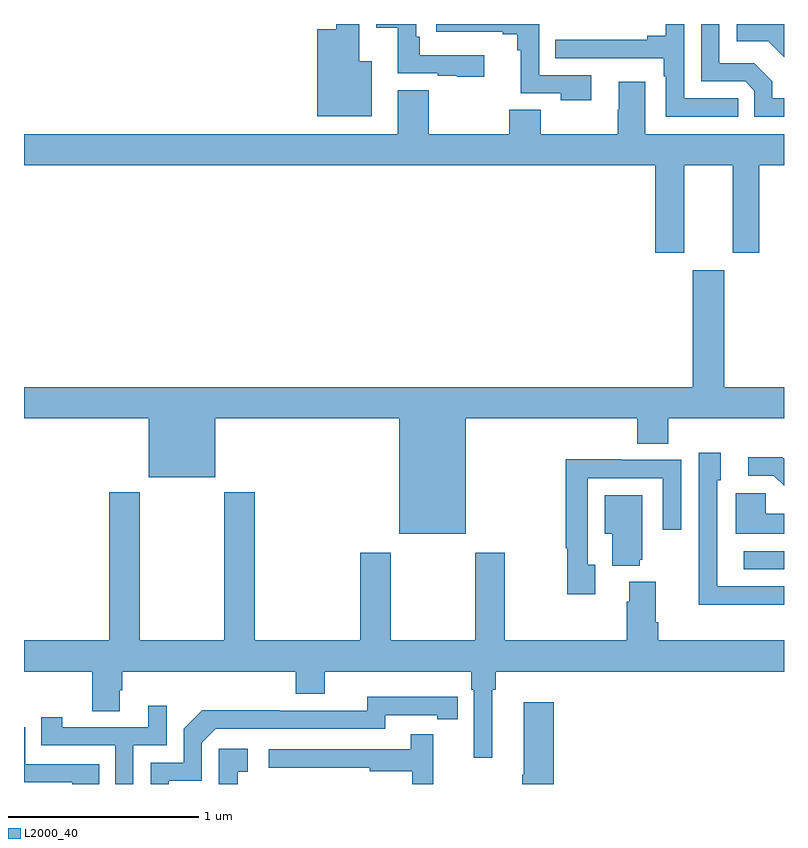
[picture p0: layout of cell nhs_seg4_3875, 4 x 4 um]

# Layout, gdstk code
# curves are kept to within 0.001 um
import gdstk
lib = gdstk.Library(unit=1e-6, precision=1e-09)
def R(c, l, rs):  # rectangles x0, y0, x1, y1
    for r in rs: c.add(gdstk.rectangle(r[:2], r[2:], *l))
def P(c, l, *ps):  # polygons
    for p in ps: c.add(gdstk.Polygon(p, *l))
L2000_40 = (2000, 40)

nhs_seg4_3875 = lib.new_cell('nhs_seg4_3875')
R(nhs_seg4_3875, L2000_40, [(318.789,792.03,319,792.126)])
P(nhs_seg4_3875, L2000_40, [(318.758,794.508),(318.474,794.508),(318.474,794.9),(318.377,794.9),(318.377,794.837),(318.281,794.837),(318.281,794.817),(317.797,794.817),(317.797,794.721),(318.366,794.721),(318.366,794.624),(318.378,794.624),(318.378,794.412),(318.758,794.412)],
  [(316.831,794.704),(316.765,794.704),(316.765,794.9),(316.644,794.9),(316.644,794.872),(316.544,794.872),(316.544,794.414),(316.831,794.414)],
  [(317.986,794.631),(317.712,794.631),(317.712,794.9),(317.169,794.9),(317.169,794.859),(317.519,794.859),(317.519,794.847),(317.596,794.847),(317.596,794.762),(317.615,794.762),(317.615,794.535),(317.825,794.535),(317.825,794.498),(317.986,794.498)],
  [(319,794.508),(318.939,794.508),(318.939,794.598),(318.843,794.694),(318.66,794.694),(318.66,794.9),(318.564,794.9),(318.564,794.598),(318.795,794.598),(318.843,794.55),(318.843,794.412),(319,794.412)],
  [(317.422,794.736),(317.084,794.736),(317.084,794.833),(317.064,794.833),(317.064,794.9),(316.853,794.9),(316.853,794.881),(316.967,794.881),(316.967,794.64),(317.177,794.64),(317.177,794.628),(317.277,794.628),(317.277,794.623),(317.422,794.623)],
  [(319,794.9),(318.75,794.9),(318.75,794.808),(318.917,794.808),(319,794.725)],
  [(318.475,794.156),(318.731,794.156),(318.731,793.695),(318.871,793.695),(318.871,794.156),(319,794.156),(319,794.32),(318.271,794.32),(318.271,794.596),(318.131,794.596),(318.131,794.45),(318.124,794.45),(318.124,794.32),(317.719,794.32),(317.719,794.45),(317.555,794.45),(317.555,794.32),(317.131,794.32),(317.131,794.551),(316.967,794.551),(316.967,794.32),(315,794.32),(315,794.156),(318.323,794.156),(318.323,793.695),(318.475,793.695)],
  [(317.326,792.824),(318.227,792.824),(318.227,792.691),(318.392,792.691),(318.392,792.824),(319,792.824),(319,792.988),(318.685,792.988),(318.685,793.603),(318.521,793.603),(318.521,792.988),(315,792.988),(315,792.824),(315.656,792.824),(315.656,792.515),(316.006,792.515),(316.006,792.824),(316.976,792.824),(316.976,792.218),(317.326,792.218)],
  [(319,791.94),(318.649,791.94),(318.649,792.194),(318.648,792.194),(318.648,792.498),(318.667,792.498),(318.667,792.643),(318.552,792.643),(318.552,792.149),(318.55,792.149),(318.55,791.843),(319,791.843)],
  [(319,792.611),(318.991,792.62),(318.813,792.62),(318.813,792.522),(318.947,792.522),(319,792.469)],
  [(318.007,792.054),(317.967,792.054),(317.967,792.51),(318.363,792.51),(318.363,792.237),(318.459,792.237),(318.459,792.606),(318.143,792.606),(318.143,792.608),(317.851,792.608),(317.851,792.142),(317.859,792.142),(317.859,791.898),(318.007,791.898)],
  [(317.464,791.396),(317.483,791.396),(317.483,791.492),(319,791.492),(319,791.656),(318.338,791.656),(318.338,791.752),(318.325,791.752),(318.325,791.965),(318.185,791.965),(318.185,791.858),(318.173,791.858),(318.173,791.656),(317.529,791.656),(317.529,792.118),(317.374,792.118),(317.374,791.656),(316.929,791.656),(316.929,792.118),(316.769,792.118),(316.769,791.656),(316.214,791.656),(316.214,792.436),(316.054,792.436),(316.054,791.656),(315.609,791.656),(315.609,792.436),(315.449,792.436),(315.449,791.656),(315,791.656),(315,791.492),(315.358,791.492),(315.358,791.284),(315.505,791.284),(315.505,791.394),(315.518,791.394),(315.518,791.492),(316.43,791.492),(316.43,791.375),(316.582,791.375),(316.582,791.492),(317.354,791.492),(317.354,791.396),(317.367,791.396),(317.367,791.037),(317.464,791.037)],
  [(319,792.322),(318.903,792.322),(318.903,792.43),(318.746,792.43),(318.746,792.218),(319,792.218)],
  [(318.242,792.081),(318.253,792.081),(318.253,792.421),(318.056,792.421),(318.056,792.218),(318.095,792.218),(318.095,792.05),(318.242,792.05)],
  [(315.763,790.917),(315.936,790.917),(315.936,791.118),(316.008,791.19),(316.902,791.19),(316.902,791.262),(317.174,791.262),(317.174,791.242),(317.282,791.242),(317.282,791.358),(316.806,791.359),(316.806,791.286),(316.346,791.286),(316.346,791.288),(315.938,791.288),(315.84,791.19),(315.84,791.013),(315.666,791.013),(315.666,790.9),(315.763,790.9)],
  [(317.789,791.329),(317.63,791.329),(317.63,790.949),(317.623,790.949),(317.623,790.9),(317.789,790.9)],
  [(315.576,791.103),(315.75,791.103),(315.75,791.311),(315.653,791.311),(315.653,791.199),(315.202,791.199),(315.202,791.251),(315.091,791.251),(315.091,791.103),(315.48,791.103),(315.48,790.9),(315.576,790.9)],
  [(315.395,791.004),(315.006,791.004),(315.006,791.199),(315,791.199),(315,790.908),(315.255,790.908),(315.255,790.9),(315.395,790.9)],
  [(317.153,791.161),(317.035,791.161),(317.035,791.082),(316.287,791.082),(316.287,790.986),(316.819,790.986),(316.819,790.966),(317.043,790.966),(317.043,790.9),(317.153,790.9)],
  [(316.124,790.965),(316.177,790.965),(316.177,791.086),(316.026,791.086),(316.026,790.9),(316.124,790.9)])

lib.write_gds('nhs_seg4_3875.gds')
